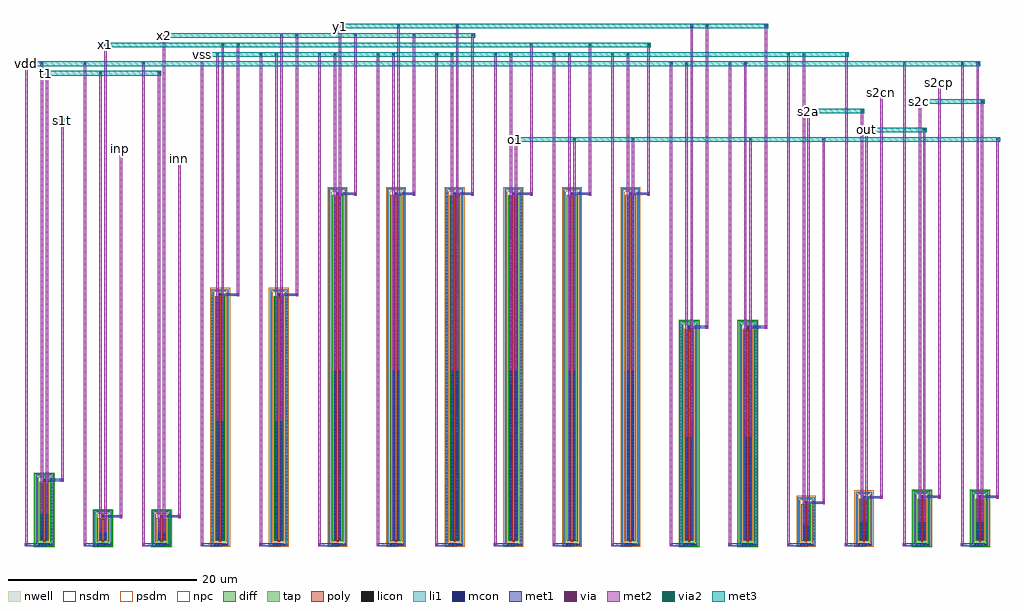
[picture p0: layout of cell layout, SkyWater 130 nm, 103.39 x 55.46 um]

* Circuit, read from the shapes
.subckt layout inn inp o1 out s1t s2a s2c s2cn s2cp t1 vdd vss x1 x2 y1
XM1 x1 x1 vss vss sky130_fd_pr__nfet_01v8 w=25.74 l=0.25
XM2 x2 x2 vss vss sky130_fd_pr__nfet_01v8 w=25.74 l=0.25
XM3 y1 x2 vss vss sky130_fd_pr__nfet_01v8 w=36.42 l=0.25 m=3
XM4 o1 x1 vss vss sky130_fd_pr__nfet_01v8 w=36.42 l=0.25 m=3
XM5 s2a o1 vss vss sky130_fd_pr__nfet_01v8 w=3.71 l=0.18
XM6 out s2cn s2a vss sky130_fd_pr__nfet_01v8 w=4.28 l=0.18
XM7 t1 s1t vdd vdd sky130_fd_pr__pfet_01v8 w=6.06 l=0.25
XM8 x1 inp t1 vdd sky130_fd_pr__pfet_01v8 w=2.21 l=0.25
XM9 x2 inn t1 vdd sky130_fd_pr__pfet_01v8 w=2.21 l=0.25
XM10 y1 y1 vdd vdd sky130_fd_pr__pfet_01v8 w=22.28 l=0.25
XM11 o1 y1 vdd vdd sky130_fd_pr__pfet_01v8 w=22.28 l=0.25
XM12 out s2cp s2c vdd sky130_fd_pr__pfet_01v8 w=4.28 l=0.18
XM13 s2c o1 vdd vdd sky130_fd_pr__pfet_01v8 w=4.28 l=0.18
.ends

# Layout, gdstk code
import gdstk
lib = gdstk.Library(unit=1e-6, precision=1e-09)
def R(c, l, rs):  # rectangles x0, y0, x1, y1
    for r in rs: c.add(gdstk.rectangle(r[:2], r[2:], *l))
def A(c, l, x, y, w, h, nx, ny, dx, dy):  # array of equal rectangles
    R(c, l, [(x+i*dx, y+j*dy, x+i*dx+w, y+j*dy+h) for i in range(nx) for j in range(ny)])
nwell = (64, 20)
diff = (65, 20)
tap = (65, 44)
poly = (66, 20)
licon = (66, 44)
li1 = (67, 20)
mcon = (67, 44)
met1 = (68, 20)
via = (68, 44)
met2 = (69, 20)
via2 = (69, 44)
met3 = (70, 20)
nsdm = (93, 44)
psdm = (94, 20)
npc = (95, 20)

layout = lib.new_cell('layout')
R(layout, nwell, [(2,2,4.21,9.9), (8.21,2,10.42,6.05), (14.42,2,16.63,6.05), (70.31,2,72.52,26.12), (76.52,2,78.73,26.12), (95.01,2,97.15,8.12), (101.15,2,103.29,8.12)])
A(layout, diff, 33.74, 2.74, 0.83, 36.42, 6, 1, 6.21, 0)
A(layout, diff, 89.56, 2.74, 0.76, 4.28, 3, 1, 6.14, 0)
R(layout, diff, [(2.69,2.74,3.52,8.8), (8.9,2.74,9.73,4.95), (15.11,2.74,15.94,4.95), (21.32,2.74,22.15,28.48), (27.53,2.74,28.36,28.48), (71,2.74,71.83,25.02), (77.21,2.74,78.04,25.02), (83.42,2.74,84.18,6.45)])
A(layout, tap, 2.18, 2.18, 1.85, 0.17, 13, 1, 6.21, 0)
A(layout, tap, 82.91, 2.18, 1.78, 0.17, 4, 1, 6.14, 0)
A(layout, tap, 33.23, 39.86, 1.85, 0.17, 6, 1, 6.21, 0)
R(layout, tap, [(2.18,2.35,2.35,9.55), (3.86,2.35,4.03,9.55), (8.39,2.35,8.56,5.7), (10.07,2.35,10.24,5.7), (14.6,2.35,14.77,5.7), (16.28,2.35,16.45,5.7), (20.81,2.35,20.98,29.18), (22.49,2.35,22.66,29.18), (27.02,2.35,27.19,29.18), (28.7,2.35,28.87,29.18), (33.23,2.35,33.4,39.86), (34.91,2.35,35.08,39.86), (39.44,2.35,39.61,39.86), (41.12,2.35,41.29,39.86), (45.65,2.35,45.82,39.86), (47.33,2.35,47.5,39.86), (51.86,2.35,52.03,39.86), (53.54,2.35,53.71,39.86), (58.07,2.35,58.24,39.86), (59.75,2.35,59.92,39.86), (64.28,2.35,64.45,39.86), (65.96,2.35,66.13,39.86), (70.49,2.35,70.66,25.77), (72.17,2.35,72.34,25.77), (76.7,2.35,76.87,25.77), (78.38,2.35,78.55,25.77), (82.91,2.35,83.08,7.15), (84.52,2.35,84.69,7.15), (89.05,2.35,89.22,7.72), (90.66,2.35,90.83,7.72), (95.19,2.35,95.36,7.77), (96.8,2.35,96.97,7.77), (101.33,2.35,101.5,7.77), (102.94,2.35,103.11,7.77), (8.39,5.7,10.24,5.87), (14.6,5.7,16.45,5.87), (82.91,7.15,84.69,7.32), (89.05,7.72,90.83,7.89), (95.19,7.77,96.97,7.94), (101.33,7.77,103.11,7.94), (2.18,9.55,4.03,9.72), (70.49,25.77,72.34,25.94), (76.7,25.77,78.55,25.94), (20.81,29.18,22.66,29.35), (27.02,29.18,28.87,29.35)])
A(layout, poly, 34.03, 2.61, 0.25, 36.66, 6, 1, 6.21, 0)
A(layout, poly, 33.99, 39.27, 0.33, 0.33, 6, 1, 6.21, 0)
R(layout, poly, [(2.98,2.61,3.23,8.955), (9.19,2.61,9.44,5.105), (15.4,2.61,15.65,5.105), (21.61,2.61,21.86,28.59), (27.82,2.61,28.07,28.59), (71.29,2.61,71.54,25.175), (77.5,2.61,77.75,25.175), (83.71,2.61,83.89,6.56), (89.85,2.61,90.03,7.13), (95.99,2.61,96.17,7.175), (102.13,2.61,102.31,7.175), (9.15,5.105,9.48,5.435), (15.36,5.105,15.69,5.435), (83.635,6.56,83.965,6.89), (89.775,7.13,90.105,7.46), (95.915,7.175,96.245,7.505), (102.055,7.175,102.385,7.505), (2.94,8.955,3.27,9.285), (71.25,25.175,71.58,25.505), (77.46,25.175,77.79,25.505), (21.57,28.59,21.9,28.92), (27.78,28.59,28.11,28.92)])
A(layout, licon, 2.68, 2.18, 0.17, 0.17, 3, 2, 0.34, 7.37)
A(layout, licon, 8.89, 2.18, 0.17, 0.17, 3, 2, 0.34, 3.52)
A(layout, licon, 15.1, 2.18, 0.17, 0.17, 3, 2, 0.34, 3.52)
A(layout, licon, 21.31, 2.18, 0.17, 0.17, 3, 2, 0.34, 27)
A(layout, licon, 27.52, 2.18, 0.17, 0.17, 3, 2, 0.34, 27)
A(layout, licon, 33.73, 2.18, 0.17, 0.17, 3, 2, 0.34, 37.68)
A(layout, licon, 39.94, 2.18, 0.17, 0.17, 3, 2, 0.34, 37.68)
A(layout, licon, 46.15, 2.18, 0.17, 0.17, 3, 2, 0.34, 37.68)
A(layout, licon, 52.36, 2.18, 0.17, 0.17, 3, 2, 0.34, 37.68)
A(layout, licon, 58.57, 2.18, 0.17, 0.17, 3, 2, 0.34, 37.68)
A(layout, licon, 64.78, 2.18, 0.17, 0.17, 3, 2, 0.34, 37.68)
A(layout, licon, 70.99, 2.18, 0.17, 0.17, 3, 2, 0.34, 23.59)
A(layout, licon, 77.2, 2.18, 0.17, 0.17, 3, 2, 0.34, 23.59)
A(layout, licon, 33.23, 2.66, 0.17, 0.17, 1, 109, 0, 0.34)
A(layout, licon, 34.91, 2.66, 0.17, 0.17, 1, 109, 0, 0.34)
A(layout, licon, 39.44, 2.66, 0.17, 0.17, 1, 109, 0, 0.34)
A(layout, licon, 41.12, 2.66, 0.17, 0.17, 1, 109, 0, 0.34)
A(layout, licon, 45.65, 2.66, 0.17, 0.17, 1, 109, 0, 0.34)
A(layout, licon, 47.33, 2.66, 0.17, 0.17, 1, 109, 0, 0.34)
A(layout, licon, 51.86, 2.66, 0.17, 0.17, 1, 109, 0, 0.34)
A(layout, licon, 53.54, 2.66, 0.17, 0.17, 1, 109, 0, 0.34)
A(layout, licon, 58.07, 2.66, 0.17, 0.17, 1, 109, 0, 0.34)
A(layout, licon, 59.75, 2.66, 0.17, 0.17, 1, 109, 0, 0.34)
A(layout, licon, 64.28, 2.66, 0.17, 0.17, 1, 109, 0, 0.34)
A(layout, licon, 65.96, 2.66, 0.17, 0.17, 1, 109, 0, 0.34)
A(layout, licon, 89.05, 2.74, 0.17, 0.17, 1, 14, 0, 0.34)
A(layout, licon, 90.66, 2.74, 0.17, 0.17, 1, 14, 0, 0.34)
A(layout, licon, 8.39, 2.75, 0.17, 0.17, 1, 8, 0, 0.34)
A(layout, licon, 10.07, 2.75, 0.17, 0.17, 1, 8, 0, 0.34)
A(layout, licon, 14.6, 2.75, 0.17, 0.17, 1, 8, 0, 0.34)
A(layout, licon, 16.28, 2.75, 0.17, 0.17, 1, 8, 0, 0.34)
A(layout, licon, 70.49, 2.755, 0.17, 0.17, 1, 67, 0, 0.34)
A(layout, licon, 72.17, 2.755, 0.17, 0.17, 1, 67, 0, 0.34)
A(layout, licon, 76.7, 2.755, 0.17, 0.17, 1, 67, 0, 0.34)
A(layout, licon, 78.38, 2.755, 0.17, 0.17, 1, 67, 0, 0.34)
A(layout, licon, 20.81, 2.76, 0.17, 0.17, 1, 77, 0, 0.34)
A(layout, licon, 22.49, 2.76, 0.17, 0.17, 1, 77, 0, 0.34)
A(layout, licon, 27.02, 2.76, 0.17, 0.17, 1, 77, 0, 0.34)
A(layout, licon, 28.7, 2.76, 0.17, 0.17, 1, 77, 0, 0.34)
A(layout, licon, 95.19, 2.765, 0.17, 0.17, 1, 14, 0, 0.34)
A(layout, licon, 96.8, 2.765, 0.17, 0.17, 1, 14, 0, 0.34)
A(layout, licon, 101.33, 2.765, 0.17, 0.17, 1, 14, 0, 0.34)
A(layout, licon, 102.94, 2.765, 0.17, 0.17, 1, 14, 0, 0.34)
A(layout, licon, 82.91, 2.795, 0.17, 0.17, 1, 12, 0, 0.34)
A(layout, licon, 84.52, 2.795, 0.17, 0.17, 1, 12, 0, 0.34)
A(layout, licon, 2.18, 2.805, 0.17, 0.17, 1, 19, 0, 0.34)
A(layout, licon, 3.86, 2.805, 0.17, 0.17, 1, 19, 0, 0.34)
A(layout, licon, 83.48, 2.81, 0.17, 0.17, 1, 11, 0, 0.34)
A(layout, licon, 83.95, 2.81, 0.17, 0.17, 1, 11, 0, 0.34)
A(layout, licon, 33.8, 2.845, 0.17, 0.17, 1, 107, 0, 0.34)
A(layout, licon, 34.34, 2.845, 0.17, 0.17, 1, 107, 0, 0.34)
A(layout, licon, 40.01, 2.845, 0.17, 0.17, 1, 107, 0, 0.34)
A(layout, licon, 40.55, 2.845, 0.17, 0.17, 1, 107, 0, 0.34)
A(layout, licon, 46.22, 2.845, 0.17, 0.17, 1, 107, 0, 0.34)
A(layout, licon, 46.76, 2.845, 0.17, 0.17, 1, 107, 0, 0.34)
A(layout, licon, 52.43, 2.845, 0.17, 0.17, 1, 107, 0, 0.34)
A(layout, licon, 52.97, 2.845, 0.17, 0.17, 1, 107, 0, 0.34)
A(layout, licon, 58.64, 2.845, 0.17, 0.17, 1, 107, 0, 0.34)
A(layout, licon, 59.18, 2.845, 0.17, 0.17, 1, 107, 0, 0.34)
A(layout, licon, 64.85, 2.845, 0.17, 0.17, 1, 107, 0, 0.34)
A(layout, licon, 65.39, 2.845, 0.17, 0.17, 1, 107, 0, 0.34)
A(layout, licon, 8.96, 2.91, 0.17, 0.17, 1, 6, 0, 0.34)
A(layout, licon, 9.5, 2.91, 0.17, 0.17, 1, 6, 0, 0.34)
A(layout, licon, 15.17, 2.91, 0.17, 0.17, 1, 6, 0, 0.34)
A(layout, licon, 15.71, 2.91, 0.17, 0.17, 1, 6, 0, 0.34)
A(layout, licon, 71.06, 2.915, 0.17, 0.17, 1, 65, 0, 0.34)
A(layout, licon, 71.6, 2.915, 0.17, 0.17, 1, 65, 0, 0.34)
A(layout, licon, 77.27, 2.915, 0.17, 0.17, 1, 65, 0, 0.34)
A(layout, licon, 77.81, 2.915, 0.17, 0.17, 1, 65, 0, 0.34)
A(layout, licon, 89.62, 2.925, 0.17, 0.17, 1, 12, 0, 0.34)
A(layout, licon, 90.09, 2.925, 0.17, 0.17, 1, 12, 0, 0.34)
A(layout, licon, 95.76, 2.925, 0.17, 0.17, 1, 12, 0, 0.34)
A(layout, licon, 96.23, 2.925, 0.17, 0.17, 1, 12, 0, 0.34)
A(layout, licon, 101.9, 2.925, 0.17, 0.17, 1, 12, 0, 0.34)
A(layout, licon, 102.37, 2.925, 0.17, 0.17, 1, 12, 0, 0.34)
A(layout, licon, 21.38, 2.945, 0.17, 0.17, 1, 75, 0, 0.34)
A(layout, licon, 21.92, 2.945, 0.17, 0.17, 1, 75, 0, 0.34)
A(layout, licon, 27.59, 2.945, 0.17, 0.17, 1, 75, 0, 0.34)
A(layout, licon, 28.13, 2.945, 0.17, 0.17, 1, 75, 0, 0.34)
A(layout, licon, 2.75, 2.965, 0.17, 0.17, 1, 17, 0, 0.34)
A(layout, licon, 3.29, 2.965, 0.17, 0.17, 1, 17, 0, 0.34)
A(layout, licon, 34.07, 39.35, 0.17, 0.17, 6, 1, 6.21, 0)
R(layout, licon, [(83.545,2.18,83.715,2.35), (83.885,2.18,84.055,2.35), (89.685,2.18,89.855,2.35), (90.025,2.18,90.195,2.35), (95.825,2.18,95.995,2.35), (96.165,2.18,96.335,2.35), (101.965,2.18,102.135,2.35), (102.305,2.18,102.475,2.35), (9.23,5.185,9.4,5.355), (15.44,5.185,15.61,5.355), (83.715,6.64,83.885,6.81), (83.545,7.15,83.715,7.32), (83.885,7.15,84.055,7.32), (89.855,7.21,90.025,7.38), (95.995,7.255,96.165,7.425), (102.135,7.255,102.305,7.425), (89.685,7.72,89.855,7.89), (90.025,7.72,90.195,7.89), (95.825,7.77,95.995,7.94), (96.165,7.77,96.335,7.94), (101.965,7.77,102.135,7.94), (102.305,7.77,102.475,7.94), (3.02,9.035,3.19,9.205), (71.33,25.255,71.5,25.425), (77.54,25.255,77.71,25.425), (21.65,28.67,21.82,28.84), (27.86,28.67,28.03,28.84)])
A(layout, li1, 2.18, 2.18, 1.85, 0.17, 13, 1, 6.21, 0)
A(layout, li1, 82.91, 2.18, 1.78, 0.17, 4, 1, 6.14, 0)
A(layout, li1, 33.99, 39.35, 0.33, 0.17, 6, 1, 6.21, 0)
A(layout, li1, 33.23, 39.86, 1.85, 0.17, 6, 1, 6.21, 0)
R(layout, li1, [(2.18,2.35,2.35,9.55), (3.86,2.35,4.03,9.55), (8.39,2.35,8.56,5.7), (10.07,2.35,10.24,5.7), (14.6,2.35,14.77,5.7), (16.28,2.35,16.45,5.7), (20.81,2.35,20.98,29.18), (22.49,2.35,22.66,29.18), (27.02,2.35,27.19,29.18), (28.7,2.35,28.87,29.18), (33.23,2.35,33.4,39.86), (34.91,2.35,35.08,39.86), (39.44,2.35,39.61,39.86), (41.12,2.35,41.29,39.86), (45.65,2.35,45.82,39.86), (47.33,2.35,47.5,39.86), (51.86,2.35,52.03,39.86), (53.54,2.35,53.71,39.86), (58.07,2.35,58.24,39.86), (59.75,2.35,59.92,39.86), (64.28,2.35,64.45,39.86), (65.96,2.35,66.13,39.86), (70.49,2.35,70.66,25.77), (72.17,2.35,72.34,25.77), (76.7,2.35,76.87,25.77), (78.38,2.35,78.55,25.77), (82.91,2.35,83.08,7.15), (84.52,2.35,84.69,7.15), (89.05,2.35,89.22,7.72), (90.66,2.35,90.83,7.72), (95.19,2.35,95.36,7.77), (96.8,2.35,96.97,7.77), (101.33,2.35,101.5,7.77), (102.94,2.35,103.11,7.77), (2.75,2.72,2.92,8.82), (3.29,2.72,3.46,8.82), (8.96,2.72,9.13,4.97), (9.5,2.72,9.67,4.97), (15.17,2.72,15.34,4.97), (15.71,2.72,15.88,4.97), (21.38,2.72,21.55,28.5), (21.92,2.72,22.09,28.5), (27.59,2.72,27.76,28.5), (28.13,2.72,28.3,28.5), (33.8,2.72,33.97,39.18), (34.34,2.72,34.51,39.18), (40.01,2.72,40.18,39.18), (40.55,2.72,40.72,39.18), (46.22,2.72,46.39,39.18), (46.76,2.72,46.93,39.18), (52.43,2.72,52.6,39.18), (52.97,2.72,53.14,39.18), (58.64,2.72,58.81,39.18), (59.18,2.72,59.35,39.18), (64.85,2.72,65.02,39.18), (65.39,2.72,65.56,39.18), (71.06,2.72,71.23,25.04), (71.6,2.72,71.77,25.04), (77.27,2.72,77.44,25.04), (77.81,2.72,77.98,25.04), (83.48,2.72,83.65,6.47), (83.95,2.72,84.12,6.47), (89.62,2.72,89.79,7.04), (90.09,2.72,90.26,7.04), (95.76,2.72,95.93,7.04), (96.23,2.72,96.4,7.04), (101.9,2.72,102.07,7.04), (102.37,2.72,102.54,7.04), (9.15,5.185,9.48,5.355), (15.36,5.185,15.69,5.355), (8.39,5.7,10.24,5.87), (14.6,5.7,16.45,5.87), (83.635,6.64,83.965,6.81), (82.91,7.15,84.69,7.32), (89.775,7.21,90.105,7.38), (95.915,7.255,96.245,7.425), (102.055,7.255,102.385,7.425), (89.05,7.72,90.83,7.89), (95.19,7.77,96.97,7.94), (101.33,7.77,103.11,7.94), (2.94,9.035,3.27,9.205), (2.18,9.55,4.03,9.72), (71.25,25.255,71.58,25.425), (77.46,25.255,77.79,25.425), (70.49,25.77,72.34,25.94), (76.7,25.77,78.55,25.94), (21.57,28.67,21.9,28.84), (27.78,28.67,28.11,28.84), (20.81,29.18,22.66,29.35), (27.02,29.18,28.87,29.35)])
A(layout, mcon, 2.48, 2.18, 0.17, 0.17, 4, 1, 0.36, 0)
A(layout, mcon, 8.69, 2.18, 0.17, 0.17, 4, 1, 0.36, 0)
A(layout, mcon, 14.9, 2.18, 0.17, 0.17, 4, 1, 0.36, 0)
A(layout, mcon, 21.11, 2.18, 0.17, 0.17, 4, 1, 0.36, 0)
A(layout, mcon, 27.32, 2.18, 0.17, 0.17, 4, 1, 0.36, 0)
A(layout, mcon, 33.53, 2.18, 0.17, 0.17, 4, 1, 0.36, 0)
A(layout, mcon, 39.74, 2.18, 0.17, 0.17, 4, 1, 0.36, 0)
A(layout, mcon, 45.95, 2.18, 0.17, 0.17, 4, 1, 0.36, 0)
A(layout, mcon, 52.16, 2.18, 0.17, 0.17, 4, 1, 0.36, 0)
A(layout, mcon, 58.37, 2.18, 0.17, 0.17, 4, 1, 0.36, 0)
A(layout, mcon, 64.58, 2.18, 0.17, 0.17, 4, 1, 0.36, 0)
A(layout, mcon, 70.79, 2.18, 0.17, 0.17, 4, 1, 0.36, 0)
A(layout, mcon, 77, 2.18, 0.17, 0.17, 4, 1, 0.36, 0)
A(layout, mcon, 83.175, 2.18, 0.17, 0.17, 4, 1, 0.36, 0)
A(layout, mcon, 89.315, 2.18, 0.17, 0.17, 4, 1, 0.36, 0)
A(layout, mcon, 95.455, 2.18, 0.17, 0.17, 4, 1, 0.36, 0)
A(layout, mcon, 101.595, 2.18, 0.17, 0.17, 4, 1, 0.36, 0)
A(layout, mcon, 2.75, 2.805, 0.17, 0.17, 1, 17, 0, 0.36)
A(layout, mcon, 3.29, 2.805, 0.17, 0.17, 1, 17, 0, 0.36)
A(layout, mcon, 71.06, 2.815, 0.17, 0.17, 1, 62, 0, 0.36)
A(layout, mcon, 71.6, 2.815, 0.17, 0.17, 1, 62, 0, 0.36)
A(layout, mcon, 77.27, 2.815, 0.17, 0.17, 1, 62, 0, 0.36)
A(layout, mcon, 77.81, 2.815, 0.17, 0.17, 1, 62, 0, 0.36)
A(layout, mcon, 89.62, 2.815, 0.17, 0.17, 1, 12, 0, 0.36)
A(layout, mcon, 90.09, 2.815, 0.17, 0.17, 1, 12, 0, 0.36)
A(layout, mcon, 95.76, 2.815, 0.17, 0.17, 1, 12, 0, 0.36)
A(layout, mcon, 96.23, 2.815, 0.17, 0.17, 1, 12, 0, 0.36)
A(layout, mcon, 101.9, 2.815, 0.17, 0.17, 1, 12, 0, 0.36)
A(layout, mcon, 102.37, 2.815, 0.17, 0.17, 1, 12, 0, 0.36)
A(layout, mcon, 8.96, 2.86, 0.17, 0.17, 1, 6, 0, 0.36)
A(layout, mcon, 9.5, 2.86, 0.17, 0.17, 1, 6, 0, 0.36)
A(layout, mcon, 15.17, 2.86, 0.17, 0.17, 1, 6, 0, 0.36)
A(layout, mcon, 15.71, 2.86, 0.17, 0.17, 1, 6, 0, 0.36)
A(layout, mcon, 33.8, 2.865, 0.17, 0.17, 1, 101, 0, 0.36)
A(layout, mcon, 34.34, 2.865, 0.17, 0.17, 1, 101, 0, 0.36)
A(layout, mcon, 40.01, 2.865, 0.17, 0.17, 1, 101, 0, 0.36)
A(layout, mcon, 40.55, 2.865, 0.17, 0.17, 1, 101, 0, 0.36)
A(layout, mcon, 46.22, 2.865, 0.17, 0.17, 1, 101, 0, 0.36)
A(layout, mcon, 46.76, 2.865, 0.17, 0.17, 1, 101, 0, 0.36)
A(layout, mcon, 52.43, 2.865, 0.17, 0.17, 1, 101, 0, 0.36)
A(layout, mcon, 52.97, 2.865, 0.17, 0.17, 1, 101, 0, 0.36)
A(layout, mcon, 58.64, 2.865, 0.17, 0.17, 1, 101, 0, 0.36)
A(layout, mcon, 59.18, 2.865, 0.17, 0.17, 1, 101, 0, 0.36)
A(layout, mcon, 64.85, 2.865, 0.17, 0.17, 1, 101, 0, 0.36)
A(layout, mcon, 65.39, 2.865, 0.17, 0.17, 1, 101, 0, 0.36)
A(layout, mcon, 83.48, 2.89, 0.17, 0.17, 1, 10, 0, 0.36)
A(layout, mcon, 83.95, 2.89, 0.17, 0.17, 1, 10, 0, 0.36)
A(layout, mcon, 21.38, 2.925, 0.17, 0.17, 1, 71, 0, 0.36)
A(layout, mcon, 21.92, 2.925, 0.17, 0.17, 1, 71, 0, 0.36)
A(layout, mcon, 27.59, 2.925, 0.17, 0.17, 1, 71, 0, 0.36)
A(layout, mcon, 28.13, 2.925, 0.17, 0.17, 1, 71, 0, 0.36)
A(layout, mcon, 34.07, 39.35, 0.17, 0.17, 6, 1, 6.21, 0)
R(layout, mcon, [(9.23,5.185,9.4,5.355), (15.44,5.185,15.61,5.355), (83.715,6.64,83.885,6.81), (89.855,7.21,90.025,7.38), (95.995,7.255,96.165,7.425), (102.135,7.255,102.305,7.425), (3.02,9.035,3.19,9.205), (71.33,25.255,71.5,25.425), (77.54,25.255,77.71,25.425), (21.65,28.67,21.82,28.84), (27.86,28.67,28.03,28.84)])
A(layout, met1, 1.07, 2.085, 0.26, 0.03, 14, 2, 6.21, 0.33)
A(layout, met1, 87.94, 2.085, 0.26, 0.03, 3, 2, 6.14, 0.33)
A(layout, met1, 1.05, 2.115, 2.205, 0.035, 13, 2, 6.21, 0.265)
A(layout, met1, 81.78, 2.115, 2.17, 0.035, 4, 2, 6.14, 0.265)
A(layout, met1, 1.05, 2.15, 2.87, 0.23, 13, 1, 6.21, 0)
A(layout, met1, 81.78, 2.15, 2.8, 0.23, 4, 1, 6.14, 0)
A(layout, met1, 35.93, 39.255, 0.26, 0.065, 6, 2, 6.21, 0.295)
A(layout, met1, 34.01, 39.32, 2.18, 0.23, 6, 1, 6.21, 0)
R(layout, met1, [(2.72,2.74,2.95,5.59), (3.26,2.74,3.49,5.59), (8.93,2.74,9.16,3.665), (9.47,2.74,9.7,3.665), (15.14,2.74,15.37,3.665), (15.68,2.74,15.91,3.665), (21.35,2.74,21.58,15.43), (21.89,2.74,22.12,15.43), (27.56,2.74,27.79,15.43), (28.1,2.74,28.33,15.43), (33.77,2.74,34,20.77), (34.31,2.74,34.54,20.77), (39.98,2.74,40.21,20.77), (40.52,2.74,40.75,20.77), (46.19,2.74,46.42,20.77), (46.73,2.74,46.96,20.77), (52.4,2.74,52.63,20.77), (52.94,2.74,53.17,20.77), (58.61,2.74,58.84,20.77), (59.15,2.74,59.38,20.77), (64.82,2.74,65.05,20.77), (65.36,2.74,65.59,20.77), (71.03,2.74,71.26,13.7), (71.57,2.74,71.8,13.7), (77.24,2.74,77.47,13.7), (77.78,2.74,78.01,13.7), (83.45,2.74,83.68,4.415), (83.92,2.74,84.15,4.415), (89.59,2.74,89.82,4.7), (90.06,2.74,90.29,4.7), (95.73,2.74,95.96,4.7), (96.2,2.74,96.43,4.7), (101.87,2.74,102.1,4.7), (102.34,2.74,102.57,4.7), (8.915,3.665,9.175,4.025), (9.455,3.665,9.715,4.025), (15.125,3.665,15.385,4.025), (15.665,3.665,15.925,4.025), (8.93,4.025,9.16,4.95), (9.47,4.025,9.7,4.95), (15.14,4.025,15.37,4.95), (15.68,4.025,15.91,4.95), (83.435,4.415,83.695,4.775), (83.905,4.415,84.165,4.775), (89.575,4.7,89.835,5.06), (90.045,4.7,90.305,5.06), (95.715,4.7,95.975,5.06), (96.185,4.7,96.445,5.06), (101.855,4.7,102.115,5.06), (102.325,4.7,102.585,5.06), (83.45,4.775,83.68,6.45), (83.92,4.775,84.15,6.45), (89.59,5.06,89.82,7.02), (90.06,5.06,90.29,7.02), (95.73,5.06,95.96,7.02), (96.2,5.06,96.43,7.02), (101.87,5.06,102.1,7.02), (102.34,5.06,102.57,7.02), (11.09,5.09,11.35,5.155), (17.3,5.09,17.56,5.155), (9.17,5.155,11.35,5.385), (15.38,5.155,17.56,5.385), (11.09,5.385,11.35,5.45), (17.3,5.385,17.56,5.45), (2.705,5.59,2.965,5.95), (3.245,5.59,3.505,5.95), (2.72,5.95,2.95,8.8), (3.26,5.95,3.49,8.8), (85.54,6.545,85.8,6.61), (83.655,6.61,85.8,6.84), (85.54,6.84,85.8,6.905), (91.68,7.115,91.94,7.18), (97.82,7.16,98.08,7.225), (103.96,7.16,104.22,7.225), (89.795,7.18,91.94,7.41), (95.935,7.225,98.08,7.455), (102.075,7.225,104.22,7.455), (91.68,7.41,91.94,7.475), (97.82,7.455,98.08,7.52), (103.96,7.455,104.22,7.52), (4.88,8.94,5.14,9.005), (2.96,9.005,5.14,9.235), (4.88,9.235,5.14,9.3), (71.015,13.7,71.275,14.06), (71.555,13.7,71.815,14.06), (77.225,13.7,77.485,14.06), (77.765,13.7,78.025,14.06), (71.03,14.06,71.26,25.02), (71.57,14.06,71.8,25.02), (77.24,14.06,77.47,25.02), (77.78,14.06,78.01,25.02), (21.335,15.43,21.595,15.79), (21.875,15.43,22.135,15.79), (27.545,15.43,27.805,15.79), (28.085,15.43,28.345,15.79), (21.35,15.79,21.58,28.48), (21.89,15.79,22.12,28.48), (27.56,15.79,27.79,28.48), (28.1,15.79,28.33,28.48), (33.755,20.77,34.015,21.13), (34.295,20.77,34.555,21.13), (39.965,20.77,40.225,21.13), (40.505,20.77,40.765,21.13), (46.175,20.77,46.435,21.13), (46.715,20.77,46.975,21.13), (52.385,20.77,52.645,21.13), (52.925,20.77,53.185,21.13), (58.595,20.77,58.855,21.13), (59.135,20.77,59.395,21.13), (64.805,20.77,65.065,21.13), (65.345,20.77,65.605,21.13), (33.77,21.13,34,39.16), (34.31,21.13,34.54,39.16), (39.98,21.13,40.21,39.16), (40.52,21.13,40.75,39.16), (46.19,21.13,46.42,39.16), (46.73,21.13,46.96,39.16), (52.4,21.13,52.63,39.16), (52.94,21.13,53.17,39.16), (58.61,21.13,58.84,39.16), (59.15,21.13,59.38,39.16), (64.82,21.13,65.05,39.16), (65.36,21.13,65.59,39.16), (73.19,25.16,73.45,25.225), (79.4,25.16,79.66,25.225), (71.27,25.225,73.45,25.455), (77.48,25.225,79.66,25.455), (73.19,25.455,73.45,25.52), (79.4,25.455,79.66,25.52), (23.51,28.575,23.77,28.64), (29.72,28.575,29.98,28.64), (21.59,28.64,23.77,28.87), (27.8,28.64,29.98,28.87), (23.51,28.87,23.77,28.935), (29.72,28.87,29.98,28.935)])
A(layout, via, 1.125, 2.19, 0.15, 0.15, 14, 1, 6.21, 0)
A(layout, via, 87.995, 2.19, 0.15, 0.15, 3, 1, 6.14, 0)
A(layout, via, 35.985, 39.36, 0.15, 0.15, 6, 1, 6.21, 0)
R(layout, via, [(8.97,3.77,9.12,3.92), (9.51,3.77,9.66,3.92), (15.18,3.77,15.33,3.92), (15.72,3.77,15.87,3.92), (83.49,4.52,83.64,4.67), (83.96,4.52,84.11,4.67), (89.63,4.805,89.78,4.955), (90.1,4.805,90.25,4.955), (95.77,4.805,95.92,4.955), (96.24,4.805,96.39,4.955), (101.91,4.805,102.06,4.955), (102.38,4.805,102.53,4.955), (11.145,5.195,11.295,5.345), (17.355,5.195,17.505,5.345), (2.76,5.695,2.91,5.845), (3.3,5.695,3.45,5.845), (85.595,6.65,85.745,6.8), (91.735,7.22,91.885,7.37), (97.875,7.265,98.025,7.415), (104.015,7.265,104.165,7.415), (4.935,9.045,5.085,9.195), (71.07,13.805,71.22,13.955), (71.61,13.805,71.76,13.955), (77.28,13.805,77.43,13.955), (77.82,13.805,77.97,13.955), (21.39,15.535,21.54,15.685), (21.93,15.535,22.08,15.685), (27.6,15.535,27.75,15.685), (28.14,15.535,28.29,15.685), (33.81,20.875,33.96,21.025), (34.35,20.875,34.5,21.025), (40.02,20.875,40.17,21.025), (40.56,20.875,40.71,21.025), (46.23,20.875,46.38,21.025), (46.77,20.875,46.92,21.025), (52.44,20.875,52.59,21.025), (52.98,20.875,53.13,21.025), (58.65,20.875,58.8,21.025), (59.19,20.875,59.34,21.025), (64.86,20.875,65.01,21.025), (65.4,20.875,65.55,21.025), (73.245,25.265,73.395,25.415), (79.455,25.265,79.605,25.415), (23.565,28.68,23.715,28.83), (29.775,28.68,29.925,28.83)])
A(layout, met2, 1.07, 2.085, 0.26, 50.935, 3, 1, 6.21, 0)
A(layout, met2, 19.7, 2.085, 0.26, 51.935, 8, 1, 6.21, 0)
A(layout, met2, 33.755, 20.77, 0.26, 33.25, 6, 1, 6.21, 0)
A(layout, met2, 34.295, 20.77, 0.26, 36.25, 3, 1, 6.21, 0)
A(layout, met2, 52.925, 20.77, 0.26, 24.25, 3, 1, 6.21, 0)
A(layout, met2, 35.93, 39.255, 0.26, 16.765, 3, 1, 6.21, 0)
A(layout, met2, 54.56, 39.255, 0.26, 15.765, 3, 1, 6.21, 0)
A(layout, met2, 52.915, 45.02, 0.28, 0.38, 3, 1, 6.21, 0)
A(layout, met2, 54.55, 55.02, 0.28, 0.38, 3, 1, 6.21, 0)
A(layout, met2, 29.71, 56.02, 0.28, 0.38, 4, 1, 6.21, 0)
A(layout, met2, 34.285, 57.02, 0.28, 0.38, 3, 1, 6.21, 0)
R(layout, met2, [(69.38,2.085,69.64,53.02), (75.59,2.085,75.85,53.02), (81.8,2.085,82.06,54.02), (87.94,2.085,88.2,54.02), (94.08,2.085,94.34,53.02), (100.22,2.085,100.48,53.02), (8.915,3.665,9.175,52.02), (9.455,3.665,9.715,55.02), (15.125,3.665,15.385,52.02), (15.665,3.665,15.925,56.02), (83.435,4.415,83.695,54.02), (83.905,4.415,84.165,48.02), (89.575,4.7,89.835,48.02), (90.045,4.7,90.305,46.02), (95.715,4.7,95.975,49.02), (96.185,4.7,96.445,46.02), (101.855,4.7,102.115,53.02), (102.325,4.7,102.585,49.02), (11.09,5.09,11.35,44.02), (17.3,5.09,17.56,43.02), (2.705,5.59,2.965,53.02), (3.245,5.59,3.505,52.02), (85.54,6.545,85.8,45.02), (91.68,7.115,91.94,50.02), (97.82,7.16,98.08,51.02), (103.96,7.16,104.22,45.02), (4.88,8.94,5.14,47.02), (71.015,13.7,71.275,53.02), (71.555,13.7,71.815,57.02), (77.225,13.7,77.485,53.02), (77.765,13.7,78.025,45.02), (21.335,15.43,21.595,54.02), (21.875,15.43,22.135,55.02), (27.545,15.43,27.805,54.02), (28.085,15.43,28.345,56.02), (73.19,25.16,73.45,57.02), (79.4,25.16,79.66,57.02), (23.51,28.575,23.77,55.02), (29.72,28.575,29.98,56.02), (17.29,43.02,17.57,43.4), (11.08,44.02,11.36,44.4), (77.755,45.02,78.035,45.4), (85.53,45.02,85.81,45.4), (103.95,45.02,104.23,45.4), (90.035,46.02,90.315,46.4), (96.175,46.02,96.455,46.4), (4.87,47.02,5.15,47.4), (83.895,48.02,84.175,48.4), (89.565,48.02,89.845,48.4), (95.705,49.02,95.985,49.4), (102.315,49.02,102.595,49.4), (91.67,50.02,91.95,50.4), (97.81,51.02,98.09,51.4), (3.235,52.02,3.515,52.4), (8.905,52.02,9.185,52.4), (15.115,52.02,15.395,52.4), (1.06,53.02,1.34,53.4), (2.695,53.02,2.975,53.4), (7.27,53.02,7.55,53.4), (13.48,53.02,13.76,53.4), (69.37,53.02,69.65,53.4), (71.005,53.02,71.285,53.4), (75.58,53.02,75.86,53.4), (77.215,53.02,77.495,53.4), (94.07,53.02,94.35,53.4), (100.21,53.02,100.49,53.4), (101.845,53.02,102.125,53.4), (19.69,54.02,19.97,54.4), (21.325,54.02,21.605,54.4), (25.9,54.02,26.18,54.4), (27.535,54.02,27.815,54.4), (32.11,54.02,32.39,54.4), (33.745,54.02,34.025,54.4), (38.32,54.02,38.6,54.4), (39.955,54.02,40.235,54.4), (44.53,54.02,44.81,54.4), (46.165,54.02,46.445,54.4), (50.74,54.02,51.02,54.4), (52.375,54.02,52.655,54.4), (56.95,54.02,57.23,54.4), (58.585,54.02,58.865,54.4), (63.16,54.02,63.44,54.4), (64.795,54.02,65.075,54.4), (81.79,54.02,82.07,54.4), (83.425,54.02,83.705,54.4), (87.93,54.02,88.21,54.4), (9.445,55.02,9.725,55.4), (21.865,55.02,22.145,55.4), (23.5,55.02,23.78,55.4), (15.655,56.02,15.935,56.4), (28.075,56.02,28.355,56.4), (71.545,57.02,71.825,57.4), (73.18,57.02,73.46,57.4), (79.39,57.02,79.67,57.4)])
A(layout, via2, 52.955, 45.11, 0.2, 0.2, 3, 1, 6.21, 0)
A(layout, via2, 54.59, 55.11, 0.2, 0.2, 3, 1, 6.21, 0)
A(layout, via2, 29.75, 56.11, 0.2, 0.2, 4, 1, 6.21, 0)
A(layout, via2, 34.325, 57.11, 0.2, 0.2, 3, 1, 6.21, 0)
R(layout, via2, [(17.33,43.11,17.53,43.31), (11.12,44.11,11.32,44.31), (77.795,45.11,77.995,45.31), (85.57,45.11,85.77,45.31), (103.99,45.11,104.19,45.31), (90.075,46.11,90.275,46.31), (96.215,46.11,96.415,46.31), (4.91,47.11,5.11,47.31), (83.935,48.11,84.135,48.31), (89.605,48.11,89.805,48.31), (95.745,49.11,95.945,49.31), (102.355,49.11,102.555,49.31), (91.71,50.11,91.91,50.31), (97.85,51.11,98.05,51.31), (3.275,52.11,3.475,52.31), (8.945,52.11,9.145,52.31), (15.155,52.11,15.355,52.31), (1.1,53.11,1.3,53.31), (2.735,53.11,2.935,53.31), (7.31,53.11,7.51,53.31), (13.52,53.11,13.72,53.31), (69.41,53.11,69.61,53.31), (71.045,53.11,71.245,53.31), (75.62,53.11,75.82,53.31), (77.255,53.11,77.455,53.31), (94.11,53.11,94.31,53.31), (100.25,53.11,100.45,53.31), (101.885,53.11,102.085,53.31), (19.73,54.11,19.93,54.31), (21.365,54.11,21.565,54.31), (25.94,54.11,26.14,54.31), (27.575,54.11,27.775,54.31), (32.15,54.11,32.35,54.31), (33.785,54.11,33.985,54.31), (38.36,54.11,38.56,54.31), (39.995,54.11,40.195,54.31), (44.57,54.11,44.77,54.31), (46.205,54.11,46.405,54.31), (50.78,54.11,50.98,54.31), (52.415,54.11,52.615,54.31), (56.99,54.11,57.19,54.31), (58.625,54.11,58.825,54.31), (63.2,54.11,63.4,54.31), (64.835,54.11,65.035,54.31), (81.83,54.11,82.03,54.31), (83.465,54.11,83.665,54.31), (87.97,54.11,88.17,54.31), (9.485,55.11,9.685,55.31), (21.905,55.11,22.105,55.31), (23.54,55.11,23.74,55.31), (15.695,56.11,15.895,56.31), (28.115,56.11,28.315,56.31), (71.585,57.11,71.785,57.31), (73.22,57.11,73.42,57.31), (79.43,57.11,79.63,57.31)])
R(layout, met3, [(17.18,42.96,17.68,43.46), (10.97,43.96,11.47,44.46), (52.805,44.96,104.34,45.46), (89.925,45.96,96.565,46.46), (4.76,46.96,5.26,47.46), (83.785,47.96,89.955,48.46), (95.595,48.96,102.705,49.46), (91.56,49.96,92.06,50.46), (97.7,50.96,98.2,51.46), (3.125,51.96,15.505,52.46), (0.95,52.96,102.235,53.46), (19.58,53.96,88.32,54.46), (9.335,54.96,67.36,55.46), (15.545,55.96,48.73,56.46), (34.175,56.96,79.78,57.46)])
A(layout, nsdm, 2.055, 2.055, 2.1, 0.42, 3, 1, 6.21, 0)
A(layout, nsdm, 33.615, 2.615, 1.08, 36.67, 6, 1, 6.21, 0)
R(layout, nsdm, [(70.365,2.055,72.465,2.475), (76.575,2.055,78.675,2.475), (95.065,2.055,97.095,2.475), (101.205,2.055,103.235,2.475), (2.055,2.475,2.475,9.425), (3.735,2.475,4.155,9.425), (8.265,2.475,8.685,5.575), (9.945,2.475,10.365,5.575), (14.475,2.475,14.895,5.575), (16.155,2.475,16.575,5.575), (70.365,2.475,70.785,25.645), (72.045,2.475,72.465,25.645), (76.575,2.475,76.995,25.645), (78.255,2.475,78.675,25.645), (95.065,2.475,95.485,7.645), (96.675,2.475,97.095,7.645), (101.205,2.475,101.625,7.645), (102.815,2.475,103.235,7.645), (21.195,2.615,22.275,28.605), (27.405,2.615,28.485,28.605), (83.295,2.615,84.305,6.575), (89.435,2.615,90.445,7.145), (8.265,5.575,10.365,5.995), (14.475,5.575,16.575,5.995), (95.065,7.645,97.095,8.065), (101.205,7.645,103.235,8.065), (2.055,9.425,4.155,9.845), (70.365,25.645,72.465,26.065), (76.575,25.645,78.675,26.065)])
A(layout, psdm, 20.685, 2.055, 2.1, 0.42, 8, 1, 6.21, 0)
A(layout, psdm, 33.105, 39.735, 2.1, 0.42, 6, 1, 6.21, 0)
R(layout, psdm, [(82.785,2.055,84.815,2.475), (88.925,2.055,90.955,2.475), (20.685,2.475,21.105,29.055), (22.365,2.475,22.785,29.055), (26.895,2.475,27.315,29.055), (28.575,2.475,28.995,29.055), (33.105,2.475,33.525,39.735), (34.785,2.475,35.205,39.735), (39.315,2.475,39.735,39.735), (40.995,2.475,41.415,39.735), (45.525,2.475,45.945,39.735), (47.205,2.475,47.625,39.735), (51.735,2.475,52.155,39.735), (53.415,2.475,53.835,39.735), (57.945,2.475,58.365,39.735), (59.625,2.475,60.045,39.735), (64.155,2.475,64.575,39.735), (65.835,2.475,66.255,39.735), (82.785,2.475,83.205,7.025), (84.395,2.475,84.815,7.025), (88.925,2.475,89.345,7.595), (90.535,2.475,90.955,7.595), (2.565,2.615,3.645,8.925), (8.775,2.615,9.855,5.075), (14.985,2.615,16.065,5.075), (70.875,2.615,71.955,25.145), (77.085,2.615,78.165,25.145), (95.575,2.615,96.585,7.145), (101.715,2.615,102.725,7.145), (82.785,7.025,84.815,7.445), (88.925,7.595,90.955,8.015), (20.685,29.055,22.785,29.475), (26.895,29.055,28.995,29.475)])
A(layout, npc, 33.97, 39.25, 0.37, 0.37, 6, 1, 6.21, 0)
R(layout, npc, [(9.13,5.085,9.5,5.455), (15.34,5.085,15.71,5.455), (83.615,6.54,83.985,6.91), (89.755,7.11,90.125,7.48), (95.895,7.155,96.265,7.525), (102.035,7.155,102.405,7.525), (2.92,8.935,3.29,9.305), (71.23,25.155,71.6,25.525), (77.44,25.155,77.81,25.525), (21.55,28.57,21.92,28.94), (27.76,28.57,28.13,28.94)])
layout.add(gdstk.Label('inn', (17.43,43.21), layer=70, texttype=5))
layout.add(gdstk.Label('inp', (11.22,44.21), layer=70, texttype=5))
layout.add(gdstk.Label('o1', (53.055,45.21), layer=70, texttype=5))
layout.add(gdstk.Label('out', (90.175,46.21), layer=70, texttype=5))
layout.add(gdstk.Label('s1t', (5.01,47.21), layer=70, texttype=5))
layout.add(gdstk.Label('s2a', (84.035,48.21), layer=70, texttype=5))
layout.add(gdstk.Label('s2c', (95.845,49.21), layer=70, texttype=5))
layout.add(gdstk.Label('s2cn', (91.81,50.21), layer=70, texttype=5))
layout.add(gdstk.Label('s2cp', (97.95,51.21), layer=70, texttype=5))
layout.add(gdstk.Label('t1', (3.375,52.21), layer=70, texttype=5))
layout.add(gdstk.Label('vdd', (1.2,53.21), layer=70, texttype=5))
layout.add(gdstk.Label('vss', (19.83,54.21), layer=70, texttype=5))
layout.add(gdstk.Label('x1', (9.585,55.21), layer=70, texttype=5))
layout.add(gdstk.Label('x2', (15.795,56.21), layer=70, texttype=5))
layout.add(gdstk.Label('y1', (34.425,57.21), layer=70, texttype=5))

lib.write_gds('layout.gds')
